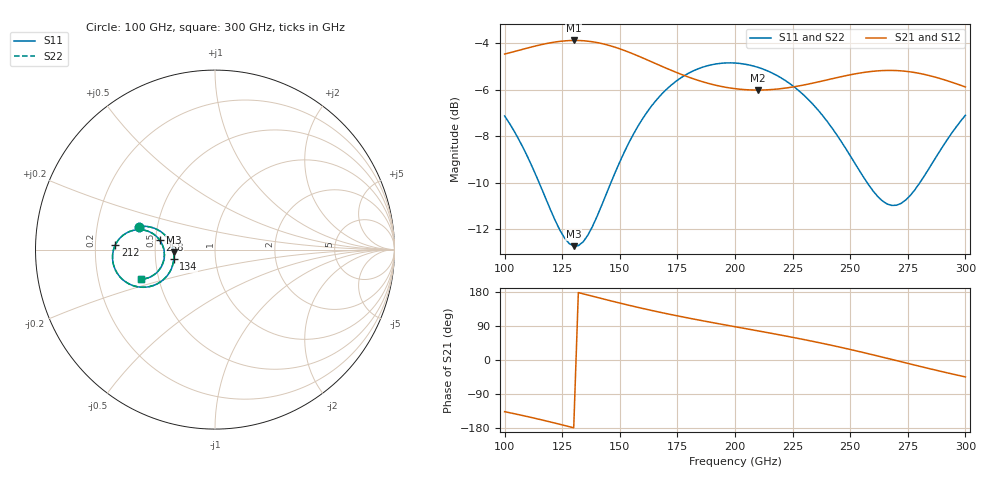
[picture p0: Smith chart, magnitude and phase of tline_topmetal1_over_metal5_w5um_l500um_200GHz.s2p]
#  GHZ S DB R 50
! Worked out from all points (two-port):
!   101 points, 100 GHz to 300 GHz, reference 50 ohm
!   highest |S21| = -3.87 dB at 130 GHz (marker M1); lowest = -6.0 dB at 210 GHz (marker M2)
!   |S21| within 3 dB of the highest: start of sweep to end of sweep
!   lowest |S11| = -12.7 dB at 130 GHz (marker M3), VSWR 1.60, Z = 31.3 - j1.06 ohm
!   |S11| at or under -10 dB: 115 GHz to 146.1 GHz (31.14 GHz wide, 23.9 % of centre); 257.4 GHz to 280.2 GHz (22.84 GHz wide, 8.49 % of centre)
!   |S22| runs from -12.7 to -4.8 dB; largest |S21 - S12| = 6.9e-14
!   S11 on the Smith chart (normalised r, x): 100 GHz: 0.40, +0.13; 134 GHz: 0.62, -0.07; 212 GHz: 0.29, +0.02; 258 GHz: 0.53, +0.06; 300 GHz: 0.40, -0.16
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100  -7.12 163.0  -4.46 -136.4  -4.46 -136.4  -7.11 163.1
114  -9.77 161.3  -4.09 -155.0  -4.09 -155.0  -9.76 161.4
124  -12.04 171.4  -3.91 -169.7  -3.91 -169.7  -12.03 171.4
130  -12.73 -176.0  -3.87 -178.9  -3.87 -178.9  -12.71 -176.0
134  -12.56 -166.8  -3.88 174.8  -3.88 174.8  -12.54 -166.8
142  -11.01 -153.6  -4.00 162.4  -4.00 162.4  -10.99 -153.6
152  -8.67 -149.3  -4.30 147.3  -4.30 147.3  -8.66 -149.3
160  -7.23 -151.3  -4.63 135.9  -4.63 135.9  -7.22 -151.3
168  -6.20 -155.4  -4.97 125.3  -4.97 125.3  -6.20 -155.4
184  -5.09 -165.4  -5.59 105.8  -5.59 105.8  -5.09 -165.4
200  -4.84 -175.5  -5.95 87.9  -5.95 87.9  -4.84 -175.5
210  -5.03 178.5  -6.01 76.9  -6.01 76.9  -5.03 178.5
212  -5.10 177.3  -6.00 74.6  -6.00 74.6  -5.09 177.4
224  -5.74 170.9  -5.89 61.0  -5.89 61.0  -5.74 170.9
234  -6.64 166.6  -5.70 48.9  -5.70 48.9  -6.63 166.7
246  -8.21 164.6  -5.43 33.3  -5.43 33.3  -8.20 164.7
258  -10.09 170.1  -5.22 16.4  -5.22 16.4  -10.07 170.1
268  -10.98 -177.4  -5.16 1.6  -5.16 1.6  -10.95 -177.4
274  -10.75 -168.8  -5.20 -7.4  -5.20 -7.4  -10.73 -168.8
282  -9.73 -160.5  -5.33 -19.3  -5.33 -19.3  -9.72 -160.6
292  -8.16 -157.1  -5.60 -33.7  -5.60 -33.7  -8.15 -157.1
300  -7.09 -158.0  -5.87 -44.6  -5.87 -44.6  -7.09 -158.1
